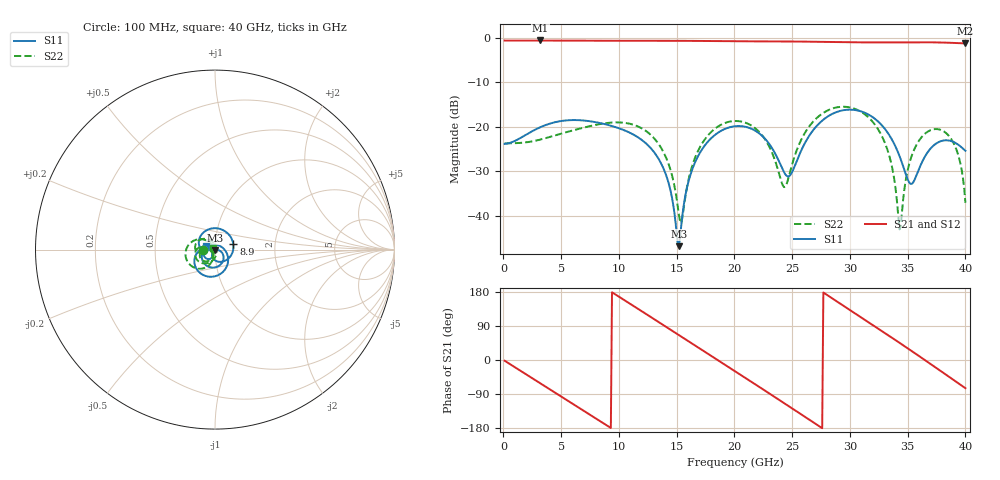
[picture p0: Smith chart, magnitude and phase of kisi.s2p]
! X_s8x2_L1L3_bd_d200: L1→L3 back-drilled, drill Ø0.2, L2 plane removed: L3 exits above the top plane
! stackup: 8-layer 1.6 mm FR-4 without the L2 plane
! ports: 1, 2
! kisi-fdtd, conformal, dfine 0.0175 mm (the cell at metal ÷ 2), 1400265 cells
# Hz S RI R 50
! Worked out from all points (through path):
!   400 points, 100 MHz to 40 GHz, reference 50 ohm
!   highest |S21| = -0.56 dB at 3.2 GHz (marker M1); lowest = -1.2 dB at 40 GHz (marker M2)
!   group delay of S21, straight-line fit = 55 ps
!   lowest |S11| = -46.9 dB at 15.2 GHz (marker M3), VSWR 1.01, Z = 50.2 - j0.391 ohm
!   |S11| at or under -10 dB: start of sweep to end of sweep
!   |S22| runs from -43.1 to -15.5 dB; largest |S21 - S12| = 0.01
!   S11 on the Smith chart (normalised r, x): 100 MHz: 0.88, -0.00; 8.9 GHz: 1.23, +0.07; 40 GHz: 0.91, +0.04
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1e8  -0.0643 -0.000142  0.9347 -0.0313  0.9417 -0.032  -0.0652 -0.000385
3.2e9  -0.0905 0.0406  0.445 -0.8249  0.4391 -0.8252  -0.0705 -0.0144
6.8e9  0.0309 0.1141  -0.6142 -0.7011  -0.6106 -0.7021  -0.0957 -0.015
8.9e9  0.1021 0.0295  -0.9204 -0.1351  -0.9223 -0.1372  -0.11 0.00517
1.1e10  0.0603 -0.06  -0.7876 0.4974  -0.7884 0.4995  -0.0987 0.0432
1.34e10  -0.0145 -0.0419  -0.1759 0.9153  -0.1742 0.9147  -0.0339 0.0556
1.44e10  -0.013 -0.0163  0.1413 0.9201  0.1417 0.9185  -0.00599 0.0343
1.52e10  0.00234 -0.00389  0.3844 0.8461  0.3835 0.8447  0.00691 0.00738
1.58e10  0.0179 -0.00321  0.5481 0.7487  0.5467 0.748  0.00855 -0.0157
1.67e10  0.0391 -0.0173  0.7473 0.5457  0.746 0.5463  -0.00319 -0.0485
2.01e10  -0.0186 -0.1  0.79 -0.4663  0.7911 -0.467  -0.107 -0.0457
2.25e10  -0.0728 -0.025  0.1916 -0.8951  0.1902 -0.8954  -0.0751 0.0179
2.43e10  -0.0139 0.0275  -0.3681 -0.8363  -0.3683 -0.8348  -0.0191 -0.00871
2.67e10  0.073 -0.0482  -0.8625 -0.2827  -0.8612 -0.2837  -0.0493 -0.0982
2.85e10  0.0263 -0.1379  -0.8565 0.2775  -0.8579 0.2762  -0.134 -0.0892
3.05e10  -0.0848 -0.1288  -0.4735 0.7572  -0.4743 0.7593  -0.1579 0.00757
3.34e10  -0.081 -0.00268  0.3954 0.799  0.3976 0.7966  -0.0287 0.0381
3.43e10  -0.0466 0.00395  0.628 0.6348  0.6275 0.6311  -0.00701 0.000262
3.53e10  -0.0189 -0.0127  0.8126 0.3737  0.8087 0.3718  -0.014 -0.0429
3.7e10  -0.0263 -0.0509  0.8771 -0.168  0.8749 -0.1627  -0.0686 -0.0611
3.9e10  -0.0646 -0.0191  0.5271 -0.7041  0.5355 -0.7038  -0.0647 0.000653
4e10  -0.0492 0.0217  0.2339 -0.8353  0.24 -0.8435  -0.0122 0.00684
